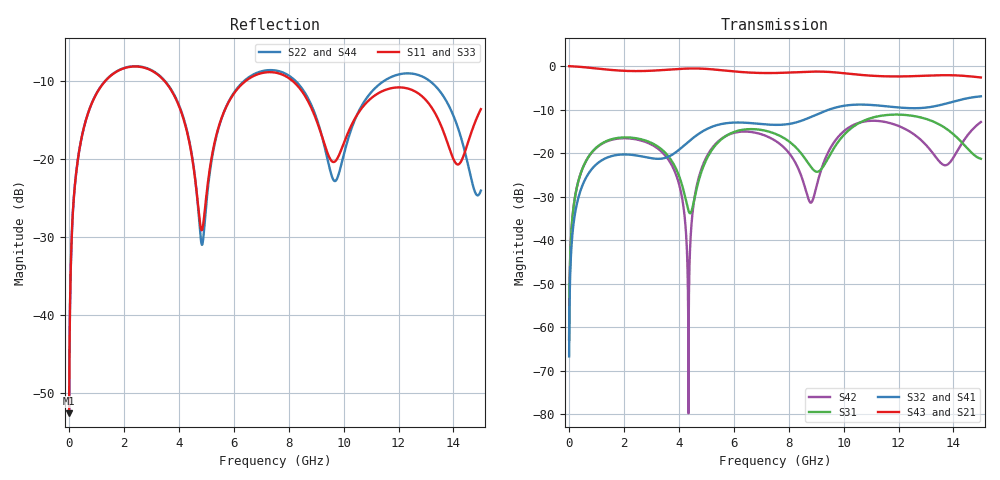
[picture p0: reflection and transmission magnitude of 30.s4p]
! Created with skrf 1.8.0 (http://scikit-rf.org).
# GHz S RI R 50.0
!freq ReS11 ImS11 ReS12 ImS12 ReS13 ImS13
! ReS14 ImS14
! ReS21 ImS21 ReS22 ImS22 ReS23 ImS23
! ReS24 ImS24
! ReS31 ImS31 ReS32 ImS32 ReS33 ImS33
! ReS34 ImS34
! ReS41 ImS41 ReS42 ImS42 ReS43 ImS43
! ReS44 ImS44
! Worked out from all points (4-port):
!   2499 points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, 5 MHz to 15 GHz, reference 50 ohm
!   strongest paths, dB at 5 MHz, 3.476 GHz, 7.19 GHz, 11.1 GHz, 15 GHz:
!     S43: 0.0, -0.9, -1.6, -2.2, -2.6
!     S21: 0.0, -0.9, -1.6, -2.2, -2.6
!     S32: -66.7, -21.1, -13.4, -9.0, -6.9
!     S41: -66.7, -21.2, -13.4, -9.0, -6.9
!     S31: -62.8, -19.7, -14.9, -11.8, -21.3
!     S42: -62.8, -20.3, -16.1, -12.6, -12.8
!   lowest |S11| = -52.6 dB at 5 MHz (marker M1), VSWR 1.00, Z = 50.2 + j0.142 ohm
!   |S11| at or under -10 dB: start of sweep to 1.307 GHz; 3.493 GHz to 6.412 GHz (2.919 GHz wide, 58.9 % of centre); 8.164 GHz to end of sweep
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0.005  0.00186 0.00141  0.9981 -0.00361  9.32e-05 0.000715  -9.06e-05 -0.000452
       0.9981 -0.00361  0.00186 0.00141  -9.06e-05 -0.000452  9.31e-05 0.000715
       9.32e-05 0.000715  -9.06e-05 -0.000452  0.00186 0.00141  0.9981 -0.00361
       -9.06e-05 -0.000452  9.31e-05 0.000715  0.9981 -0.00361  0.00186 0.00141
0.4126719  0.0457 0.116  0.9362 -0.2889  0.0224 0.0522  -0.0181 -0.0317
           0.9362 -0.2889  0.0458 0.116  -0.0182 -0.0317  0.0215 0.0525
           0.0224 0.0522  -0.0182 -0.0317  0.0457 0.116  0.9362 -0.2889
           -0.0181 -0.0317  0.0215 0.0525  0.9362 -0.2889  0.0458 0.116
1.925802  0.3662 0.1014  0.2744 -0.8419  0.151 0.00794  -0.0892 0.0361
          0.2744 -0.8419  0.3686 0.0982  -0.0893 0.0363  0.1463 0.0224
          0.151 0.00794  -0.0893 0.0363  0.3661 0.1015  0.2744 -0.8419
          -0.0892 0.0361  0.1463 0.0224  0.2744 -0.8419  0.3685 0.0981
4.345561  0.0724 -0.1175  -0.863 -0.367  -0.0189 -0.0114  -0.049 0.1254
          -0.863 -0.367  0.0665 -0.1236  -0.048 0.1258  0.000253 -0.000733
          -0.0189 -0.0114  -0.048 0.1258  0.0732 -0.1166  -0.8631 -0.3671
          -0.049 0.1254  0.000253 -0.000733  -0.8631 -0.3671  0.0653 -0.1234
5.402251  0.0932 0.1184  -0.8599 0.2883  0.0775 0.1046  0.089 0.1907
          -0.8599 0.2883  0.0882 0.1195  0.0904 0.19  0.0784 0.1081
          0.0775 0.1046  0.0904 0.19  0.0946 0.118  -0.8599 0.288
          0.089 0.1907  0.0784 0.1081  -0.8599 0.288  0.0869 0.1205
9.729054  0.0983 0.00658  0.8396 0.0945  -0.000835 0.1248  0.0299 -0.3342
          0.8396 0.0945  0.0733 0.000843  0.0252 -0.3341  0.00283 0.1439
          -0.000835 0.1248  0.0252 -0.3341  0.1005 0.00896  0.8396 0.0951
          0.0299 -0.3342  0.00283 0.1439  0.8396 0.0951  0.0704 0.00441
15  0.1639 0.1312  -0.7395 0.0366  -0.0418 0.0753  0.0356 0.4488
    -0.7395 0.0366  0.0625 0.00664  0.0462 0.4469  0.183 0.1357
    -0.0418 0.0753  0.0462 0.4469  0.1725 0.1275  -0.7397 0.0307
    0.0356 0.4488  0.183 0.1357  -0.7397 0.0307  0.0555 0.00744
